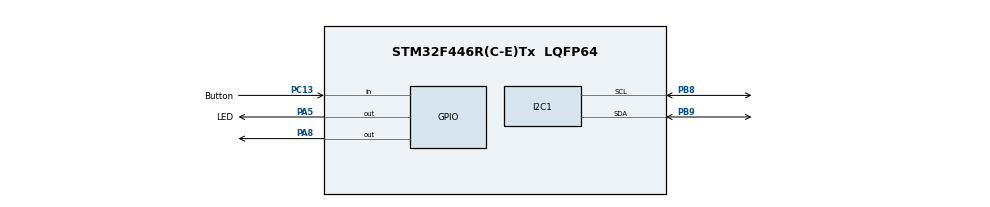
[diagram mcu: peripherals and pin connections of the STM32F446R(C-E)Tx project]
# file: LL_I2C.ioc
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I2C1.I2C_Mode=I2C_Fast
Mcu.Family=STM32F4
Mcu.Name=STM32F446R(C-E)Tx
Mcu.Package=LQFP64
NVIC.PriorityGroup=NVIC_PRIORITYGROUP_4
NVIC.TIM6_DAC_IRQn=true\:0\:0\:false\:false\:true\:true
PA5.GPIO_Label=LED
PA5.Signal=GPIO_Output
PA8.Signal=GPIO_Output
PB8.Mode=I2C
PB8.Signal=I2C1_SCL
PB9.Mode=I2C
PB9.Signal=I2C1_SDA
PC13.GPIO_Label=Button
PC13.Signal=GPIO_Input
ProjectManager.HeapSize=0x200
ProjectManager.StackSize=0x400
ProjectManager.TargetToolchain=TrueSTUDIO
RCC.CortexFreq_Value=16000000
RCC.USBFreq_Value=96000000
RCC.VCOOutputFreq_Value=192000000
TIM6.Period=500
TIM6.Prescaler=15999
TIM6.TIM_MasterOutputTrigger=TIM_TRGO_RESET
VP_TIM6_VS_ClockSourceINT.Mode=Enable_Timer
board=custom

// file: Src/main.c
/**
  ******************************************************************************
  * @file           : main.c
  * @brief          : Main program body
  ******************************************************************************
  ** This notice applies to any and all portions of this file
  * that are not between comment pairs USER CODE BEGIN and
  * USER CODE END. Other portions of this file, whether
  * inserted by the user or by software development tools
  * are owned by their respective copyright owners.
  *
  * COPYRIGHT(c) 2018 STMicroelectronics
  *
  * Redistribution and use in source and binary forms, with or without modification,
  * are permitted provided that the following conditions are met:
  *   1. Redistributions of source code must retain the above copyright notice,
  *      this list of conditions and the following disclaimer.
  *   2. Redistributions in binary form must reproduce the above copyright notice,
  *      this list of conditions and the following disclaimer in the documentation
  *      and/or other materials provided with the distribution.
  *   3. Neither the name of STMicroelectronics nor the names of its contributors
  *      may be used to endorse or promote products derived from this software
  *      without specific prior written permission.
  *
  * THIS SOFTWARE IS PROVIDED BY THE COPYRIGHT HOLDERS AND CONTRIBUTORS "AS IS"
  * AND ANY EXPRESS OR IMPLIED WARRANTIES, INCLUDING, BUT NOT LIMITED TO, THE
  * IMPLIED WARRANTIES OF MERCHANTABILITY AND FITNESS FOR A PARTICULAR PURPOSE ARE
  * DISCLAIMED. IN NO EVENT SHALL THE COPYRIGHT HOLDER OR CONTRIBUTORS BE LIABLE
  * FOR ANY DIRECT, INDIRECT, INCIDENTAL, SPECIAL, EXEMPLARY, OR CONSEQUENTIAL
  * DAMAGES (INCLUDING, BUT NOT LIMITED TO, PROCUREMENT OF SUBSTITUTE GOODS OR
  * SERVICES; LOSS OF USE, DATA, OR PROFITS; OR BUSINESS INTERRUPTION) HOWEVER
  * CAUSED AND ON ANY THEORY OF LIABILITY, WHETHER IN CONTRACT, STRICT LIABILITY,
  * OR TORT (INCLUDING NEGLIGENCE OR OTHERWISE) ARISING IN ANY WAY OUT OF THE USE
  * OF THIS SOFTWARE, EVEN IF ADVISED OF THE POSSIBILITY OF SUCH DAMAGE.
  *
  ******************************************************************************
  */
#include "main.h"

/* USER CODE BEGIN Includes */
#include "24LC256.h"
/* USER CODE END Includes */

/* USER CODE BEGIN PV */
I2CReq R;
I2C_RequestResult result;
uint8_t BuffTx [3*PageSize];
uint8_t BuffRx [3*PageSize];

/* Private variables ---------------------------------------------------------*/
/* USER CODE END PV */

static void LL_Init(void);
void SystemClock_Config(void);
static void MX_GPIO_Init(void);
static void MX_I2C1_Init(void);
static void MX_TIM6_Init(void);

/* USER CODE BEGIN PFP */
/* Private function prototypes -----------------------------------------------*/

/* USER CODE END PFP */

int main(void)
{

  /* MCU Configuration----------------------------------------------------------*/

  /* Reset of all peripherals, Initializes the Flash interface and the Systick. */
  LL_Init();

  /* Configure the system clock */
  SystemClock_Config();

  /* Initialize all configured peripherals */
  MX_GPIO_Init();
  MX_I2C1_Init();
  MX_TIM6_Init();
  /* USER CODE BEGIN 2 */
  for (int i = 0; i < (3*PageSize); ++i) {
	BuffTx[i] = i;
  }

  R.SlaveAddr = SLAVE_ADDR;
  R.InternalAddr.addr16 = 0;
  R.DataAmount = sizeof(BuffTx);
  R.data = (uint8_t *) &BuffTx[0];
  R.timeout = TIMEOUT_100ms;

  if((result = EEPROM_I2C_mem_Write (&R)) == !I2C_Success){
  	  //write exeption here
  }
  // 			Writting into memory
//  R.InternalAddr.addr16 = 0;
//  if((result = EEPROM_I2C_mem_WritePage64 (&R)) == !I2C_Success){
//    	  //write exeption here
//  }
//  LL_mDelay(300);
//  R.InternalAddr.addr16 = 64;
//  if((result = EEPROM_I2C_mem_WritePage64 (&R)) == !I2C_Success){
//      	  //write exeption here
//  }
//  LL_mDelay(300);
//  R.InternalAddr.addr16 = 128;
//  if((result = EEPROM_I2C_mem_WritePage64 (&R)) == !I2C_Success){
//      	  //write exeption here
//  }
//  LL_mDelay(300);

  // 			Reading from memory
  R.InternalAddr.addr16 = 0;
  R.data = (uint8_t *) &BuffRx[0];
  R.DataAmount = 3*PageSize;
  if((result = EEPROM_I2C_mem_Read(&R, SEQUENTIAL)) == !I2C_Success){
	  //write exeption here
  }
//  R.InternalAddr.addr16 = 0x64;
//  if((result = EEPROM_I2C_mem_Read(&R, SEQUENTIAL)) == !I2C_Success){
//	  //write exeption here
//  }
//  R.InternalAddr.addr16 = 0x128;
//  if((result = EEPROM_I2C_mem_Read(&R, SEQUENTIAL)) == !I2C_Success){
//  	  //write exeption here
//  }
  LL_mDelay(500);

//  LL_TIM_SetCounter(TIM6, 0x0);
//  LL_TIM_EnableCounter(TIM6);
//  LL_TIM_EnableIT_UPDATE(TIM6);
//  while(result == 0){}
//  LL_TIM_DisableIT_UPDATE(TIM6);
//  LL_TIM_DisableCounter(TIM6);
//
//  result = 0;
//  LL_TIM_SetCounter(TIM6, 0x0);
//  LL_TIM_EnableCounter(TIM6);
//    LL_TIM_EnableIT_UPDATE(TIM6);
//  while(result == 0){}
//  LL_mDelay(500);
//  LL_TIM_EnableCounter(TIM6);
//    LL_TIM_EnableIT_UPDATE(TIM6);
//  LL_SYSTICK_EnableIT();

  /* USER CODE END 2 */

  /* Infinite loop */
  while (1)
  {

  }

}

static void LL_Init(void)
{

  LL_APB2_GRP1_EnableClock(LL_APB2_GRP1_PERIPH_SYSCFG);
  LL_APB1_GRP1_EnableClock(LL_APB1_GRP1_PERIPH_PWR);

  NVIC_SetPriorityGrouping(NVIC_PRIORITYGROUP_4);

  /* System interrupt init*/
  /* MemoryManagement_IRQn interrupt configuration */
  NVIC_SetPriority(MemoryManagement_IRQn, NVIC_EncodePriority(NVIC_GetPriorityGrouping(),0, 0));
  /* BusFault_IRQn interrupt configuration */
  NVIC_SetPriority(BusFault_IRQn, NVIC_EncodePriority(NVIC_GetPriorityGrouping(),0, 0));
  /* UsageFault_IRQn interrupt configuration */
  NVIC_SetPriority(UsageFault_IRQn, NVIC_EncodePriority(NVIC_GetPriorityGrouping(),0, 0));
  /* SVCall_IRQn interrupt configuration */
  NVIC_SetPriority(SVCall_IRQn, NVIC_EncodePriority(NVIC_GetPriorityGrouping(),0, 0));
  /* DebugMonitor_IRQn interrupt configuration */
  NVIC_SetPriority(DebugMonitor_IRQn, NVIC_EncodePriority(NVIC_GetPriorityGrouping(),0, 0));
  /* PendSV_IRQn interrupt configuration */
  NVIC_SetPriority(PendSV_IRQn, NVIC_EncodePriority(NVIC_GetPriorityGrouping(),0, 0));
  /* SysTick_IRQn interrupt configuration */
  NVIC_SetPriority(SysTick_IRQn, NVIC_EncodePriority(NVIC_GetPriorityGrouping(),0, 0));

}

void SystemClock_Config(void)
{

  LL_FLASH_SetLatency(LL_FLASH_LATENCY_0);

  if(LL_FLASH_GetLatency() != LL_FLASH_LATENCY_0)
  {
  Error_Handler();
  }
  LL_PWR_SetRegulVoltageScaling(LL_PWR_REGU_VOLTAGE_SCALE3);

  LL_PWR_DisableOverDriveMode();

  LL_RCC_HSI_SetCalibTrimming(16);

  LL_RCC_HSI_Enable();

   /* Wait till HSI is ready */
  while(LL_RCC_HSI_IsReady() != 1)
  {

  }
  LL_RCC_SetAHBPrescaler(LL_RCC_SYSCLK_DIV_1);

  LL_RCC_SetAPB1Prescaler(LL_RCC_APB1_DIV_1);

  LL_RCC_SetAPB2Prescaler(LL_RCC_APB2_DIV_1);

  LL_RCC_SetSysClkSource(LL_RCC_SYS_CLKSOURCE_HSI);

   /* Wait till System clock is ready */
  while(LL_RCC_GetSysClkSource() != LL_RCC_SYS_CLKSOURCE_STATUS_HSI)
  {

  }
  LL_Init1msTick(20000000);

  LL_SYSTICK_SetClkSource(LL_SYSTICK_CLKSOURCE_HCLK_DIV8);

  LL_SetSystemCoreClock(16000000);

  LL_RCC_SetTIMPrescaler(LL_RCC_TIM_PRESCALER_TWICE);

  /* SysTick_IRQn interrupt configuration */
  NVIC_SetPriority(SysTick_IRQn, NVIC_EncodePriority(NVIC_GetPriorityGrouping(),0, 0));
}

/* I2C1 init function */
static void MX_I2C1_Init(void)
{

  LL_I2C_InitTypeDef I2C_InitStruct;

  LL_GPIO_InitTypeDef GPIO_InitStruct;

  /**I2C1 GPIO Configuration
  PB8   ------> I2C1_SCL
  PB9   ------> I2C1_SDA
  */
  GPIO_InitStruct.Pin = LL_GPIO_PIN_8|LL_GPIO_PIN_9;
  GPIO_InitStruct.Mode = LL_GPIO_MODE_ALTERNATE;
  GPIO_InitStruct.Speed = LL_GPIO_SPEED_FREQ_VERY_HIGH;
  GPIO_InitStruct.OutputType = LL_GPIO_OUTPUT_OPENDRAIN;
  GPIO_InitStruct.Pull = LL_GPIO_PULL_UP;
  GPIO_InitStruct.Alternate = LL_GPIO_AF_4;
  LL_GPIO_Init(GPIOB, &GPIO_InitStruct);

  /* Peripheral clock enable */
  LL_APB1_GRP1_EnableClock(LL_APB1_GRP1_PERIPH_I2C1);

    /**I2C Initialization
    */
  LL_I2C_DisableOwnAddress2(I2C1);

  LL_I2C_DisableGeneralCall(I2C1);

  LL_I2C_EnableClockStretching(I2C1);

  I2C_InitStruct.PeripheralMode = LL_I2C_MODE_I2C;
  I2C_InitStruct.ClockSpeed = 400000;
  I2C_InitStruct.DutyCycle = LL_I2C_DUTYCYCLE_2;
  I2C_InitStruct.OwnAddress1 = 0;
  I2C_InitStruct.TypeAcknowledge = LL_I2C_ACK;
  I2C_InitStruct.OwnAddrSize = LL_I2C_OWNADDRESS1_7BIT;
  LL_I2C_Init(I2C1, &I2C_InitStruct);

  LL_I2C_SetOwnAddress2(I2C1, 0);

}

/* TIM6 init function */
static void MX_TIM6_Init(void)
{

  LL_TIM_InitTypeDef TIM_InitStruct;

  /* Peripheral clock enable */
  LL_APB1_GRP1_EnableClock(LL_APB1_GRP1_PERIPH_TIM6);

  /* TIM6 interrupt Init */
  NVIC_SetPriority(TIM6_DAC_IRQn, NVIC_EncodePriority(NVIC_GetPriorityGrouping(),0, 0));
  NVIC_EnableIRQ(TIM6_DAC_IRQn);

  TIM_InitStruct.Prescaler = 15999;
  TIM_InitStruct.CounterMode = LL_TIM_COUNTERMODE_UP;
  TIM_InitStruct.Autoreload = 500;
  LL_TIM_Init(TIM6, &TIM_InitStruct);

  LL_TIM_SetTriggerOutput(TIM6, LL_TIM_TRGO_RESET);

  LL_TIM_DisableMasterSlaveMode(TIM6);

}

/** Configure pins as
        * Analog
        * Input
        * Output
        * EVENT_OUT
        * EXTI
*/
static void MX_GPIO_Init(void)
{

  LL_GPIO_InitTypeDef GPIO_InitStruct;

  /* GPIO Ports Clock Enable */
  LL_AHB1_GRP1_EnableClock(LL_AHB1_GRP1_PERIPH_GPIOC);
  LL_AHB1_GRP1_EnableClock(LL_AHB1_GRP1_PERIPH_GPIOA);
  LL_AHB1_GRP1_EnableClock(LL_AHB1_GRP1_PERIPH_GPIOB);

  /**/
  LL_GPIO_ResetOutputPin(GPIOA, LED_Pin|LL_GPIO_PIN_8);

  /**/
  GPIO_InitStruct.Pin = Button_Pin;
  GPIO_InitStruct.Mode = LL_GPIO_MODE_INPUT;
  GPIO_InitStruct.Pull = LL_GPIO_PULL_NO;
  LL_GPIO_Init(Button_GPIO_Port, &GPIO_InitStruct);

  /**/
  GPIO_InitStruct.Pin = LED_Pin|LL_GPIO_PIN_8;
  GPIO_InitStruct.Mode = LL_GPIO_MODE_OUTPUT;
  GPIO_InitStruct.Speed = LL_GPIO_SPEED_FREQ_LOW;
  GPIO_InitStruct.OutputType = LL_GPIO_OUTPUT_PUSHPULL;
  GPIO_InitStruct.Pull = LL_GPIO_PULL_NO;
  LL_GPIO_Init(GPIOA, &GPIO_InitStruct);

}

void _Error_Handler(char *file, int line)
{
  while(1)
  {
  }
}

/************************ (C) COPYRIGHT STMicroelectronics *****END OF FILE****/
